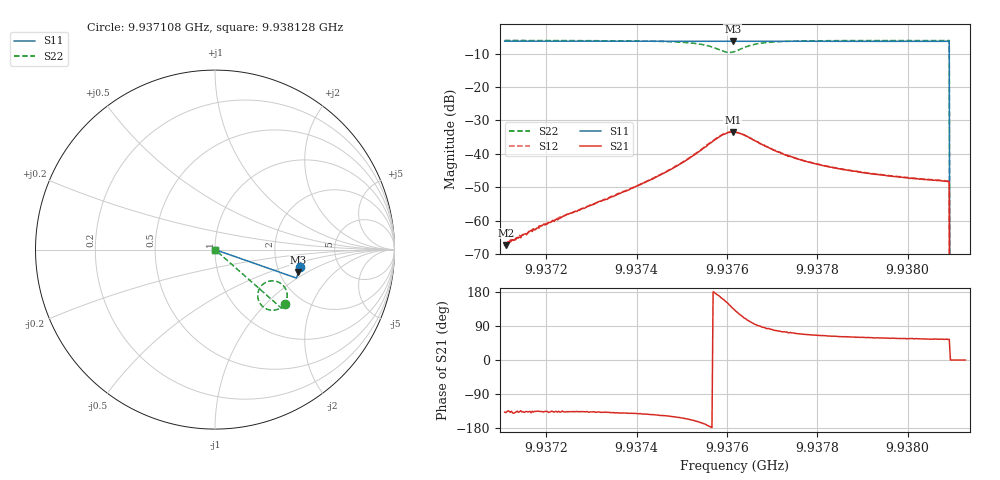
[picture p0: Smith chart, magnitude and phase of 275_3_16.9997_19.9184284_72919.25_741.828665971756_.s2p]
#  HZ  S  RI  R  50.00
! Rohde & Schwarz Vector Network Analyzer
! Rohde-Schwarz,ZNB20-2Port,1311601062101988,3.16
! Created: UTC 3/20/2024, 11:04:22 PM
! freq[Hz]  re:S11  im:S11  re:S21  im:S21  re:S12  im:S12  re:S22  im:S22
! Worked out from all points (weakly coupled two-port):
!   401 points, 9.937108 GHz to 9.938128 GHz, reference 50 ohm
!   highest |S21| = -33.50 dB at 9.937613 GHz (marker M1); lowest = -67.3 dB at 9.93711 GHz (marker M2)
!   lowest |S11| = -6.4 dB at 9.937613 GHz (marker M3), VSWR 2.84, Z = 126 - j41.5 ohm
!   |S11| at or under -10 dB: 9.938092 GHz to end of sweep
!   |S22| runs from - to -6.1 dB; largest |S21 - S12| = 0.001
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9.9371079e9  0.4749 -0.0947  -0.000321 -0.000295  -0.000296 -0.000289  0.3923 -0.3029
9.9371105e9  0.4747 -0.0947  -0.000324 -0.000283  -0.000333 -0.000285  0.392 -0.3032
9.9371232e9  0.4747 -0.0956  -0.000351 -0.000347  -0.000381 -0.000348  0.3911 -0.3041
9.9371895e9  0.4733 -0.1001  -0.000601 -0.000585  -0.000632 -0.00056  0.3861 -0.3091
9.9372787e9  0.4716 -0.1062  -0.00108 -0.00104  -0.00111 -0.00103  0.3775 -0.3163
9.9373782e9  0.4697 -0.1128  -0.00215 -0.00178  -0.00221 -0.00177  0.3633 -0.3262
9.9374496e9  0.468 -0.1177  -0.00387 -0.00264  -0.00399 -0.00263  0.3451 -0.3342
9.9375006e9  0.4666 -0.1213  -0.00649 -0.00332  -0.00667 -0.00325  0.3208 -0.3379
9.9375516e9  0.4649 -0.1245  -0.0123 -0.00237  -0.0127 -0.002  0.273 -0.3228
9.9375873e9  0.4633 -0.1262  -0.018 0.00497  -0.0181 0.00553  0.238 -0.2583
9.9376e9  0.463 -0.1265  -0.018 0.00957  -0.0178 0.0105  0.2462 -0.2202
9.9376128e9  0.4627 -0.1265  -0.0153 0.0145  -0.0152 0.0151  0.2734 -0.1886
9.9376179e9  0.4629 -0.1268  -0.0138 0.0158  -0.0135 0.0165  0.288 -0.1805
9.9376459e9  0.4632 -0.1283  -0.00458 0.0174  -0.00417 0.0176  0.3612 -0.1853
9.9376765e9  0.4631 -0.1305  0.000644 0.0139  0.000812 0.0141  0.3943 -0.2216
9.9377326e9  0.4623 -0.1347  0.00258 0.0091  0.00285 0.00918  0.4017 -0.2653
9.9377887e9  0.4612 -0.1387  0.00297 0.00664  0.00313 0.00665  0.3967 -0.2868
9.9378652e9  0.4593 -0.1436  0.00274 0.00501  0.00289 0.00499  0.389 -0.3033
9.9379595e9  0.4569 -0.1499  0.00251 0.00393  0.0026 0.00393  0.3808 -0.3157
9.938087e9  0.4537 -0.1583  0.00221 0.00316  0.00235 0.00315  0.3716 -0.3272
9.9380998e9  0 0  0 0  0 0  0 0
9.9381278e9  0 0  0 0  0 0  0 0
